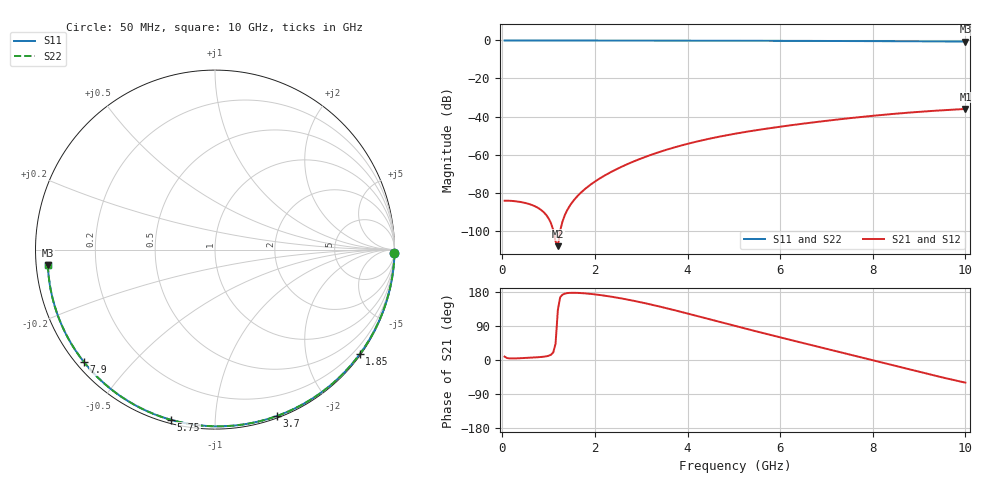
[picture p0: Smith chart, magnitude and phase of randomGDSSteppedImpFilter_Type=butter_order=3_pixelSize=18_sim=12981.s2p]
! freq	dB(S11)	phase(S11)	dB(S12)	phase(S12)
!  dB(S21)	phase(S21)	dB(S22)	phase(S22)
!S-par simulation data
#  GHz  S  DB  R 50
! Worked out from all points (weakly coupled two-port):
!   200 points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, 50 MHz to 10 GHz, reference 50 ohm
!   highest |S21| = -36.03 dB at 10 GHz (marker M1); lowest = -108.2 dB at 1.2 GHz (marker M2)
!   lowest |S11| = -0.6 dB at 10 GHz (marker M3), VSWR 29.84, Z = 1.68 - j2.35 ohm
!   |S11| at or under -10 dB: nowhere
!   |S22| runs from -0.6 to 0.0 dB; largest |S21 - S12| = 0
!   S11 on the Smith chart (normalised r, x): 50 MHz: open; 1.85 GHz: 0.03, -3.09; 3.7 GHz: 0.02, -1.44; 5.75 GHz: 0.02, -0.77; 7.9 GHz: 0.02, -0.37; 10 GHz: 0.03, -0.05
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0.05  -0.00 -1.0  -84.28 8.9  -84.28 8.9  -0.00 -1.0
0.6  -0.01 -11.8  -86.17 6.1  -86.17 6.1  -0.01 -11.8
1.2  -0.03 -23.4  -108.17 132.2  -108.17 132.2  -0.03 -23.4
1.7  -0.04 -33.0  -79.97 176.6  -79.97 176.6  -0.04 -33.0
1.75  -0.04 -33.9  -78.87 176.2  -78.87 176.2  -0.04 -34.0
1.85  -0.05 -35.8  -76.86 175.2  -76.86 175.2  -0.05 -35.9
2  -0.05 -38.7  -74.21 173.2  -74.21 173.2  -0.05 -38.7
2.15  -0.05 -41.5  -71.89 170.8  -71.89 170.8  -0.05 -41.5
2.5  -0.06 -48.0  -67.30 164.1  -67.30 164.1  -0.06 -48.0
2.95  -0.07 -56.3  -62.51 153.4  -62.51 153.4  -0.07 -56.3
3.4  -0.09 -64.4  -58.59 141.0  -58.59 141.0  -0.09 -64.4
3.7  -0.09 -69.7  -56.35 132.0  -56.35 132.0  -0.09 -69.7
4.35  -0.12 -81.0  -52.32 111.5  -52.32 111.5  -0.12 -81.1
5.05  -0.14 -92.9  -48.94 89.2  -48.94 89.2  -0.14 -92.9
5.75  -0.18 -104.5  -46.21 67.4  -46.21 67.4  -0.18 -104.6
6.2  -0.20 -111.8  -44.68 53.7  -44.68 53.7  -0.20 -111.9
6.7  -0.24 -119.9  -43.12 38.6  -43.12 38.6  -0.24 -120.0
7.3  -0.28 -129.6  -41.41 20.5  -41.41 20.5  -0.28 -129.6
7.9  -0.33 -139.3  -39.86 2.2  -39.86 2.2  -0.34 -139.3
8.35  -0.38 -146.6  -38.82 -11.6  -38.82 -11.6  -0.38 -146.7
9.2  -0.48 -160.7  -37.20 -37.2  -37.20 -37.2  -0.48 -160.8
10  -0.58 -174.6  -36.03 -59.7  -36.03 -59.7  -0.58 -174.7
